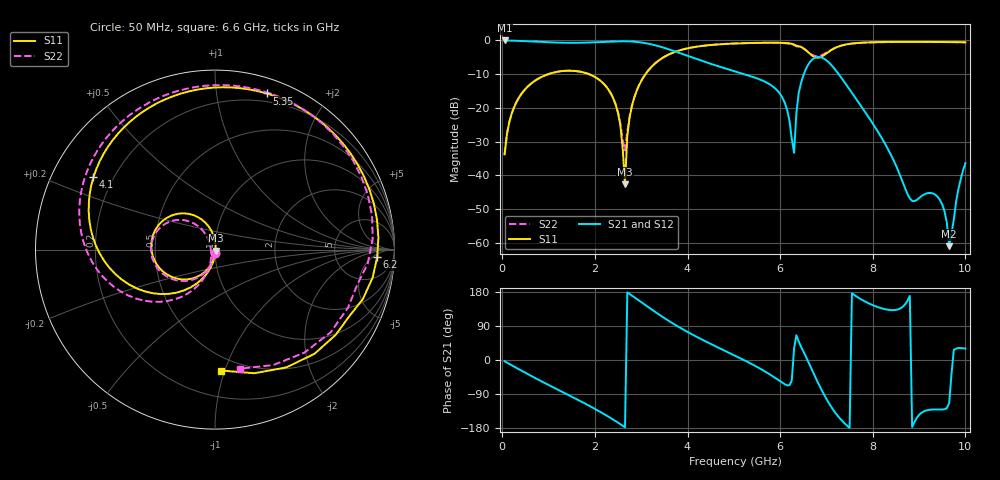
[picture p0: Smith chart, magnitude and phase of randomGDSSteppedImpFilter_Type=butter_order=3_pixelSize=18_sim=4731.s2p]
! freq	dB(S11)	phase(S11)	dB(S12)	phase(S12)
!  dB(S21)	phase(S21)	dB(S22)	phase(S22)
!S-par simulation data
#  GHz  S  DB  R 50
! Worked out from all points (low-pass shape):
!   200 points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, 50 MHz to 10 GHz, reference 50 ohm
!   highest |S21| = -0.01 dB at 50 MHz (marker M1); lowest = -60.9 dB at 9.65 GHz (marker M2)
!   |S21| within 3 dB of the highest: start of sweep to 3.677 GHz
!   lowest |S11| = -42.6 dB at 2.65 GHz (marker M3), VSWR 1.02, Z = 50.4 - j0.617 ohm
!   |S11| at or under -10 dB: start of sweep to 990 MHz; 1.874 GHz to 3.093 GHz (1.219 GHz wide, 49.1 % of centre)
!   |S22| runs from -33.7 to -0.4 dB; largest |S21 - S12| = 0
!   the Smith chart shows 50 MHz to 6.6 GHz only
!   S11 on the Smith chart (normalised r, x): 50 MHz: 1.00, -0.04; 4.1 GHz: 0.13, +0.27; 5.35 GHz: 0.13, +1.38; 6.2 GHz: 17, -7; 6.6 GHz: 0.39, -0.97
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0.05  -33.73 -93.5  -0.01 -3.5  -0.01 -3.5  -33.73 -93.3
0.5  -14.36 -125.4  -0.22 -33.9  -0.22 -33.9  -14.36 -123.4
1.75  -9.46 153.2  -0.67 -112.6  -0.67 -112.6  -9.45 161.4
2.45  -19.08 101.6  -0.27 -161.5  -0.27 -161.5  -18.97 122.0
2.65  -42.56 -55.2  -0.25 -177.5  -0.25 -177.5  -32.57 -157.4
2.85  -16.94 -109.0  -0.38 165.6  -0.38 165.6  -16.78 -109.6
3.4  -5.73 -158.0  -1.80 118.7  -1.80 118.7  -5.70 -148.4
4.1  -2.07 149.3  -5.05 67.4  -5.05 67.4  -2.06 163.5
5.05  -0.89 90.4  -9.26 9.9  -9.26 9.9  -0.88 108.7
5.35  -0.76 71.6  -10.53 -8.4  -10.53 -8.4  -0.76 90.6
6.2  -0.87 -2.6  -23.64 -66.6  -23.64 -66.6  -0.96 12.2
6.3  -1.22 -18.4  -33.28 29.8  -33.28 29.8  -1.37 -5.4
6.4  -1.69 -35.1  -15.61 49.2  -15.61 49.2  -1.84 -23.5
6.6  -3.42 -87.1  -7.28 -2.5  -7.28 -2.5  -3.38 -78.1
6.7  -4.59 -119.4  -5.54 -29.4  -5.54 -29.4  -4.33 -108.2
6.95  -4.31 158.9  -5.42 -91.9  -5.42 -91.9  -3.99 -174.1
7.3  -1.61 87.5  -10.64 -155.4  -10.64 -155.4  -1.63 123.1
8.35  -0.45 5.0  -32.77 132.2  -32.77 132.2  -0.48 39.1
8.85  -0.42 -17.5  -47.52 -177.0  -47.52 -177.0  -0.44 14.9
9.45  -0.46 -40.4  -47.22 -130.7  -47.22 -130.7  -0.45 -10.3
9.65  -0.49 -47.5  -60.94 -113.3  -60.94 -113.3  -0.47 -18.2
10  -0.56 -59.8  -36.33 30.1  -36.33 30.1  -0.54 -31.9
